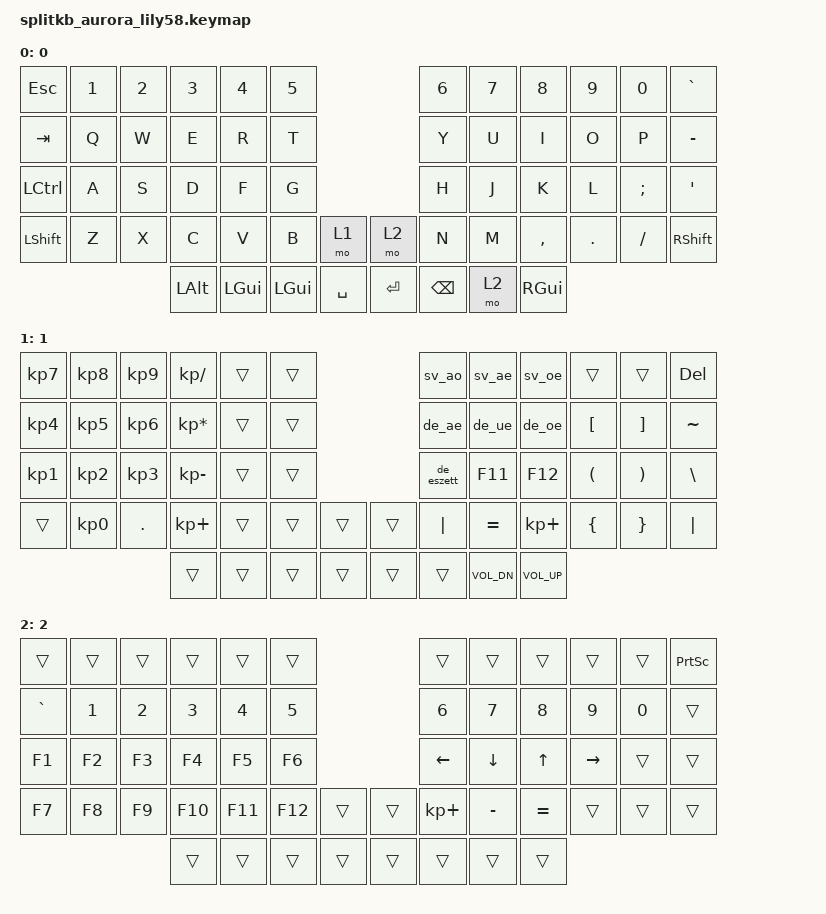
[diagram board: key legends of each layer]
/*
 * Copyright (c) 2022 The ZMK Contributors
 *
 * SPDX-License-Identifier: MIT
 */

#include <behaviors.dtsi>
#include <dt-bindings/zmk/keys.h>

#define HOST_OS 1
#include "zmk-helpers/helper.h"
#include "zmk-helpers/unicode-chars/german.dtsi"
#include "zmk-helpers/unicode-chars/swedish.dtsi"

/ {
    keymap {
        compatible = "zmk,keymap";

        default_layer {
            // ------------------------------------------------------------------------------------------------------------
            // |  ESC  | 1(!)| 2(@)|  3(#)|  4($)| 5(%) |                   |  6(^)|  7(&) |  8(*) |  9(()|  0 ())|   `(~) |
            // |  TAB  |  Q  |  W  |  E   |  R   |  T   |                   |  Y   |  U    |  I    |  O   |   P   |   -   |
            // |  CTRL |  A  |  S  |  D   |  F   |  G   |                   |  H   |  J    |  K    |  L   |   ;   |   '   |
            // | SHIFT |  Z  |  X  |  C   |  V   |  B   |   "1"  |  |  "2"  |  N   |  M    |  ,    |  .   |   /   | SHIFT |
            //                     | ALT  | LGUI | LGUI |  SPACE |  | ENTER | BSPC | MO(2) | RGUI  |
            //

            display-name = "0";
            bindings = <
&kp ESC    &kp N1  &kp N2  &kp N3    &kp N4        &kp N5                          &kp N6         &kp N7  &kp N8     &kp N9   &kp N0    &kp GRAVE
&kp TAB    &kp Q   &kp W   &kp E     &kp R         &kp T                           &kp Y          &kp U   &kp I      &kp O    &kp P     &kp MINUS
&kp LCTRL  &kp A   &kp S   &kp D     &kp F         &kp G                           &kp H          &kp J   &kp K      &kp L    &kp SEMI  &kp SQT
&kp LSHFT  &kp Z   &kp X   &kp C     &kp V         &kp B     &mo 1        &mo 2    &kp N          &kp M   &kp COMMA  &kp DOT  &kp FSLH  &kp RSHFT
                           &kp LALT  &kp LEFT_GUI  &kp LGUI  &kp SPACE    &kp RET  &kp BACKSPACE  &mo 2   &kp RGUI
            >;
        };

        lower_layer {
            // ------------------------------------------------------------------------------------------------------------
            // | KP_N7 | KP_N8 | KP_N9 | KP_SLASH     |      |      |                   |  SV_AO   | SV_AE | SV_OE |      |       |  DEL  |
            // | KP_N4 | KP_N5 | KP_N6 | KP_ASTERISK  |      |      |                   |  DE_AE   | DE_UE | DE_OE |  [   |   ]   |   ~   |
            // | KP_N1 | KP_N2 | KP_N3 | KP_SUBTRACT  |      |      |                   | DE_ESZETT|  F11  |  F12  |  (   |   )   |   \   |
            // |       | KP_N0 |       | KP_PLUS      |      |      |        |  |       |  "|" |  =    |  +    |  {   |   }   |  "|"  |
            //                         |              |      |      |        |  |       |      | vol-  | vol + |

            display-name = "1";
            bindings = <
&kp KP_N7  &kp KP_N8  &kp KP_N9   &kp KP_SLASH     &trans  &trans                    &sv_ao      &sv_ae        &sv_oe           &trans            &trans             &kp DEL
&kp KP_N4  &kp KP_N5  &kp KP_N6   &kp KP_ASTERISK  &trans  &trans                    &de_ae      &de_ue        &de_oe           &kp LBKT          &kp RBKT           &kp TILDE
&kp KP_N1  &kp KP_N2  &kp KP_N3   &kp KP_SUBTRACT  &trans  &trans                    &de_eszett  &kp F11       &kp F12          &kp LPAR          &kp RPAR           &kp BSLH
&trans     &kp KP_N0  &kp PERIOD  &kp KP_PLUS      &trans  &trans  &trans    &trans  &kp PIPE   &kp EQUAL     &kp KP_PLUS    &kp LBRC          &kp RBRC           &kp PIPE
                                  &trans           &trans  &trans  &trans    &trans  &trans     &kp K_VOL_DN  &kp K_VOL_UP
            >;
        };

        raise_layer {
            // ------------------------------------------------------------------------------------------------------------
            // |       |     |     |      |      |      |                   |      |       |       |      |       | PSCRN |
            // |   `   |  1  |  2  |  3   |  4   |  5   |                   |  6   |   7   |   8   |  9   |   0   |       |
            // |   F1  |  F2 |  F3 |  F4  |  F5  |  F6  |                   |      |   <-  |   v   |  ^   |  ->   |       |
            // |   F7  |  F8 |  F9 |  F10 |  F11 |  F12 |        |  |       |  +   |   -   |   =   |      |       |       |
            //                     |      |      |      |        |  |       |      |       |       |

            display-name = "2";
            bindings = <
&trans     &trans  &trans  &trans   &trans   &trans                     &trans          &trans          &trans        &trans           &trans    &kp PSCRN
&kp GRAVE  &kp N1  &kp N2  &kp N3   &kp N4   &kp N5                     &kp N6          &kp N7          &kp N8        &kp N9           &kp N0    &trans
&kp F1     &kp F2  &kp F3  &kp F4   &kp F5   &kp F6                     &kp LEFT_ARROW  &kp DOWN_ARROW  &kp UP_ARROW  &kp RIGHT_ARROW  &trans    &trans
&kp F7     &kp F8  &kp F9  &kp F10  &kp F11  &kp F12  &trans    &trans  &kp KP_PLUS     &kp MINUS       &kp EQUAL     &trans           &trans    &trans
                           &trans   &trans   &trans   &trans    &trans  &trans          &trans          &trans
            >;
        };
    };
};
